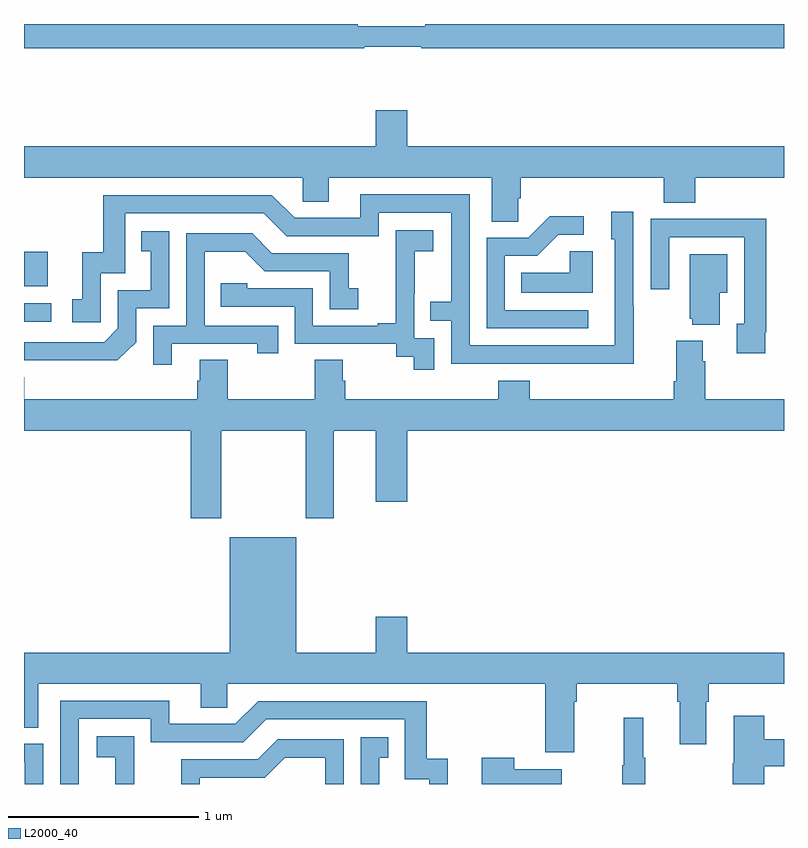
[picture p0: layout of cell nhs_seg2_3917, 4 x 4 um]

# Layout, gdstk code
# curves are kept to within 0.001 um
import gdstk
lib = gdstk.Library(unit=1e-6, precision=1e-09)
def R(c, l, rs):  # rectangles x0, y0, x1, y1
    for r in rs: c.add(gdstk.rectangle(r[:2], r[2:], *l))
def P(c, l, *ps):  # polygons
    for p in ps: c.add(gdstk.Polygon(p, *l))
L2000_40 = (2000, 40)

nhs_seg2_3917 = lib.new_cell('nhs_seg2_3917')
R(nhs_seg2_3917, L2000_40, [(319,624.234,319.144,624.33), (319,624.419,319.126,624.601)])
P(nhs_seg2_3917, L2000_40, [(320.792,625.68),(321.092,625.68),(321.092,625.672),(323,625.672),(323,625.8),(321.112,625.8),(321.112,625.789),(320.756,625.789),(320.756,625.8),(319,625.8),(319,625.672),(320.792,625.672)],
  [(321.6,624.883),(321.614,624.883),(321.614,624.992),(322.367,624.992),(322.367,624.859),(322.532,624.859),(322.532,624.992),(323,624.992),(323,625.156),(321.016,625.156),(321.016,625.345),(320.852,625.345),(320.852,625.156),(319,625.156),(319,624.992),(320.466,624.992),(320.466,624.865),(320.605,624.865),(320.605,624.992),(321.461,624.992),(321.461,624.76),(321.6,624.76)],
  [(322.209,624.317),(322.206,624.317),(322.206,624.811),(322.091,624.811),(322.091,624.666),(322.11,624.666),(322.11,624.108),(321.345,624.108),(321.345,624.903),(320.771,624.903),(320.771,624.78),(320.424,624.78),(320.304,624.9),(319.417,624.9),(319.417,624.598),(319.307,624.598),(319.307,624.351),(319.254,624.351),(319.254,624.231),(319.404,624.231),(319.404,624.489),(319.533,624.489),(319.533,624.804),(320.262,624.804),(320.382,624.684),(320.868,624.684),(320.868,624.807),(321.249,624.807),(321.249,624.338),(321.139,624.338),(321.139,624.237),(321.249,624.237),(321.249,624.012),(322.209,624.011)],
  [(321.97,624.294),(321.531,624.294),(321.531,624.579),(321.7,624.579),(321.811,624.69),(321.946,624.69),(321.946,624.788),(321.767,624.788),(321.654,624.675),(321.435,624.675),(321.435,624.198),(321.97,624.198)],
  [(322.9,624.178),(322.907,624.178),(322.907,624.776),(322.615,624.776),(322.615,624.774),(322.299,624.774),(322.299,624.405),(322.395,624.405),(322.395,624.678),(322.791,624.678),(322.791,624.222),(322.751,624.222),(322.751,624.066),(322.9,624.066)],
  [(321.159,624.147),(321.054,624.147),(321.054,624.377),(321.056,624.377),(321.056,624.605),(321.154,624.605),(321.154,624.715),(320.956,624.715),(320.956,624.509),(320.957,624.509),(320.957,624.226),(320.861,624.226),(320.861,624.213),(320.52,624.213),(320.52,624.408),(320.175,624.408),(320.175,624.435),(320.035,624.435),(320.035,624.312),(320.424,624.312),(320.424,624.117),(320.958,624.117),(320.958,624.049),(321.051,624.049),(321.051,623.979),(321.159,623.979)],
  [(319.59,624.126),(319.59,624.303),(319.764,624.303),(319.764,624.709),(319.618,624.709),(319.618,624.603),(319.667,624.603),(319.667,624.399),(319.494,624.399),(319.494,624.198),(319.422,624.126),(319,624.126),(319,624.03),(319.084,624.029),(319.492,624.029)],
  [(319.777,624.117),(320.228,624.117),(320.228,624.066),(320.339,624.066),(320.339,624.213),(319.95,624.213),(319.95,624.602),(320.164,624.602),(320.268,624.498),(320.61,624.498),(320.61,624.3),(320.758,624.3),(320.758,624.409),(320.709,624.409),(320.709,624.594),(320.305,624.594),(320.2,624.699),(319.854,624.699),(319.854,624.213),(319.68,624.213),(319.68,624.006),(319.777,624.006)],
  [(321.994,624.605),(321.873,624.605),(321.873,624.49),(321.616,624.49),(321.616,624.386),(321.994,624.386)],
  [(322.663,624.386),(322.702,624.386),(322.702,624.589),(322.505,624.589),(322.505,624.249),(322.517,624.249),(322.517,624.218),(322.663,624.218)],
  [(320.037,623.66),(320.482,623.66),(320.482,623.199),(320.629,623.199),(320.629,623.66),(320.852,623.66),(320.852,623.286),(321.016,623.286),(321.016,623.66),(323,623.66),(323,623.824),(322.586,623.824),(322.586,624.026),(322.573,624.026),(322.573,624.133),(322.433,624.133),(322.433,623.92),(322.421,623.92),(322.421,623.824),(321.662,623.824),(321.662,623.923),(321.497,623.923),(321.497,623.824),(320.69,623.824),(320.69,623.922),(320.677,623.922),(320.677,624.032),(320.53,624.032),(320.53,623.824),(320.073,623.824),(320.073,624.032),(319.925,624.032),(319.925,623.922),(319.913,623.922),(319.913,623.824),(319.001,623.824),(319.001,623.941),(319,623.941),(319,623.66),(319.877,623.66),(319.877,623.199),(320.037,623.199)],
  [(321.895,622.232),(321.908,622.232),(321.908,622.328),(322.439,622.328),(322.439,622.232),(322.451,622.232),(322.451,622.008),(322.591,622.008),(322.591,622.232),(322.604,622.232),(322.604,622.328),(323,622.328),(323,622.492),(321.016,622.492),(321.016,622.681),(320.852,622.681),(320.852,622.492),(320.434,622.492),(320.434,623.098),(320.084,623.098),(320.084,622.492),(319,622.492),(319,622.096),(319.075,622.096),(319.075,622.328),(319.931,622.328),(319.931,622.201),(320.07,622.201),(320.07,622.328),(321.743,622.328),(321.743,621.966),(321.895,621.966)],
  [(319.287,622.143),(319.668,622.143),(319.668,622.02),(320.154,622.02),(320.274,622.14),(321.003,622.14),(321.003,621.825),(321.132,621.825),(321.132,621.8),(321.23,621.8),(321.23,621.934),(321.119,621.934),(321.119,622.236),(320.232,622.236),(320.112,622.116),(319.765,622.116),(319.765,622.239),(319.191,622.239),(319.191,621.8),(319.287,621.8)],
  [(322.895,621.893),(323,621.893),(323,622.035),(322.895,622.035),(322.895,622.159),(322.736,622.159),(322.736,621.909),(322.729,621.909),(322.729,621.8),(322.895,621.8)],
  [(322.27,621.937),(322.259,621.937),(322.259,622.15),(322.156,622.15),(322.156,621.9),(322.149,621.9),(322.149,621.8),(322.27,621.8)],
  [(319.58,621.845),(319.581,621.845),(319.581,622.051),(319.383,622.051),(319.383,621.941),(319.481,621.941),(319.481,621.8),(319.58,621.8)],
  [(320.869,621.939),(320.918,621.939),(320.918,622.045),(320.772,622.045),(320.772,621.8),(320.869,621.8)],
  [(319.926,621.834),(320.268,621.834),(320.372,621.938),(320.586,621.938),(320.586,621.8),(320.682,621.8),(320.682,622.035),(320.336,622.035),(320.231,621.93),(319.828,621.93),(319.828,621.8),(319.926,621.8)],
  [(319.101,622.011),(319,622.011),(319,621.915),(319.005,621.915),(319.005,621.8),(319.101,621.8)],
  [(321.829,621.877),(321.581,621.877),(321.581,621.937),(321.41,621.937),(321.41,621.8),(321.829,621.8)])

lib.write_gds('nhs_seg2_3917.gds')
